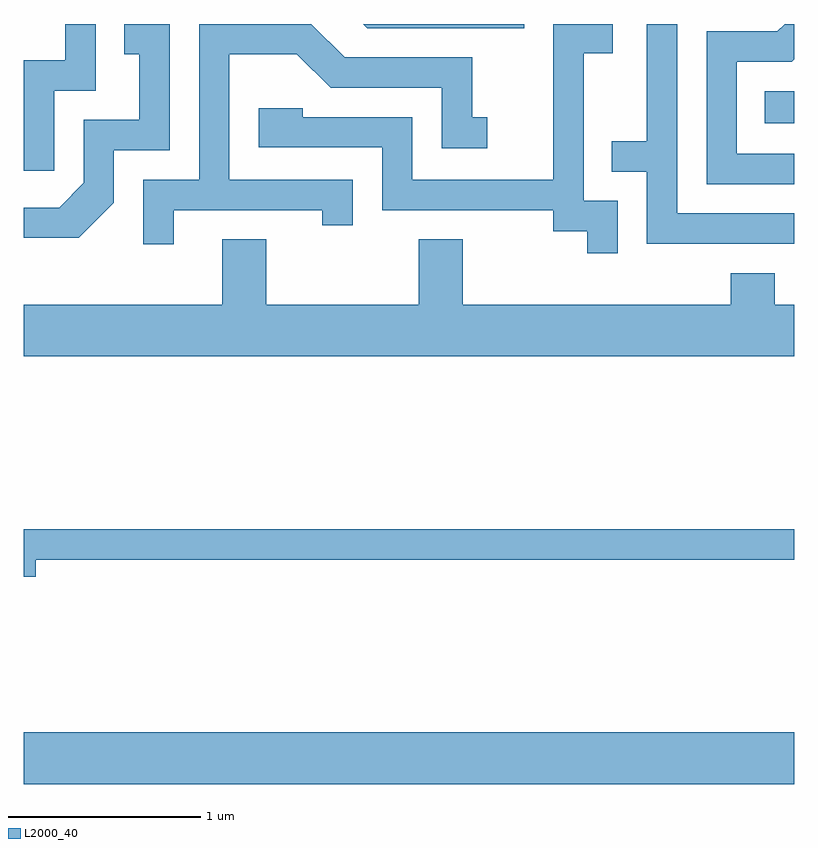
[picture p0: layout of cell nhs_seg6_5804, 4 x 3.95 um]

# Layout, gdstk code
import gdstk
lib = gdstk.Library(unit=1e-6, precision=1e-09)
def R(c, l, rs):  # rectangles x0, y0, x1, y1
    for r in rs: c.add(gdstk.rectangle(r[:2], r[2:], *l))
def P(c, l, *ps):  # polygons
    for p in ps: c.add(gdstk.Polygon(p, *l))
L2000_40 = (2000, 40)

nhs_seg6_5804 = lib.new_cell('nhs_seg6_5804')
R(nhs_seg6_5804, L2000_40, [(361.611,1592.216,365.611,1592.484), (365.458,1595.646,365.611,1595.814)])
P(nhs_seg6_5804, L2000_40, [(361.769,1595.816),(361.984,1595.816),(361.984,1596.162),(361.826,1596.162),(361.826,1595.974),(361.611,1595.974),(361.611,1595.401),(361.769,1595.401)],
  [(364.209,1596.162),(363.373,1596.162),(363.394,1596.141),(364.209,1596.141)],
  [(365.611,1595.179),(365.004,1595.179),(365.004,1596.162),(364.846,1596.162),(364.846,1595.554),(364.663,1595.554),(364.663,1595.396),(364.846,1595.396),(364.846,1595.021),(365.611,1595.021)],
  [(364.694,1595.244),(364.519,1595.244),(364.519,1596.011),(364.669,1596.011),(364.669,1596.162),(364.361,1596.162),(364.361,1595.354),(363.629,1595.354),(363.629,1595.679),(363.059,1595.679),(363.059,1595.724),(362.831,1595.724),(362.831,1595.521),(363.471,1595.521),(363.471,1595.196),(364.361,1595.196),(364.361,1595.086),(364.536,1595.086),(364.536,1594.973),(364.694,1594.973)],
  [(365.611,1595.489),(365.314,1595.489),(365.314,1595.966),(365.597,1595.966),(365.611,1595.98),(365.611,1596.162),(365.562,1596.162),(365.524,1596.124),(365.156,1596.124),(365.156,1595.331),(365.611,1595.331)],
  [(362.079,1595.234),(362.079,1595.506),(362.369,1595.506),(362.369,1596.162),(362.133,1596.162),(362.133,1596.006),(362.211,1596.006),(362.211,1595.664),(361.921,1595.664),(361.921,1595.337),(361.794,1595.209),(361.611,1595.209),(361.611,1595.051),(361.897,1595.051)],
  [(362.389,1595.196),(363.161,1595.196),(363.161,1595.118),(363.319,1595.118),(363.319,1595.354),(362.679,1595.354),(362.679,1596.006),(363.029,1596.006),(363.204,1595.831),(363.781,1595.831),(363.781,1595.516),(364.018,1595.516),(364.018,1595.679),(363.939,1595.679),(363.939,1595.989),(363.277,1595.989),(363.104,1596.162),(362.521,1596.162),(362.521,1595.354),(362.231,1595.354),(362.231,1595.018),(362.389,1595.018)],
  [(365.611,1594.704),(365.509,1594.704),(365.509,1594.869),(365.281,1594.869),(365.281,1594.704),(363.889,1594.704),(363.889,1595.044),(363.661,1595.044),(363.661,1594.704),(362.869,1594.704),(362.869,1595.044),(362.641,1595.044),(362.641,1594.704),(361.611,1594.704),(361.611,1594.436),(365.611,1594.436)],
  [(361.674,1593.381),(365.611,1593.381),(365.611,1593.539),(361.611,1593.539),(361.611,1593.291),(361.674,1593.291)])

lib.write_gds('nhs_seg6_5804.gds')
